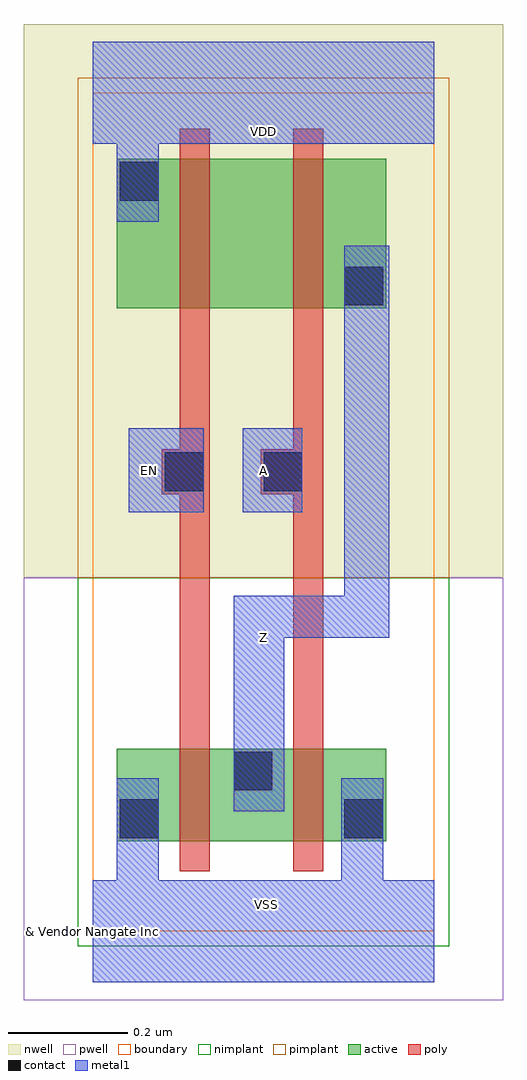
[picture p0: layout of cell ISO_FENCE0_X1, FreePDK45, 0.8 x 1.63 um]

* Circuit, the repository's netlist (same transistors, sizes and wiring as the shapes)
* 
* ******************************************************************************
* *                                                                            *
* *                   Copyright (C) 2004-2011, Nangate Inc.                    *
* *                           All rights reserved.                             *
* *                                                                            *
* * Nangate and the Nangate logo are trademarks of Nangate Inc.                *
* *                                                                            *
* * All trademarks, logos, software marks, and trade names (collectively the   *
* * "Marks") in this program are proprietary to Nangate or other respective    *
* * owners that have granted Nangate the right and license to use such Marks.  *
* * You are not permitted to use the Marks without the prior written consent   *
* * of Nangate or such third party that may own the Marks.                     *
* *                                                                            *
* * This file has been provided pursuant to a License Agreement containing     *
* * restrictions on its use. This file contains valuable trade secrets and     *
* * proprietary information of Nangate Inc., and is protected by U.S. and      *
* * international laws and/or treaties.                                        *
* *                                                                            *
* * The copyright notice(s) in this file does not indicate actual or intended  *
* * publication of this file.                                                  *
* *                                                                            *
* *     NGLibraryCreator, v2010.08-HR32-SP3-2010-08-05 - build 1009061800      *
* *                                                                            *
* ******************************************************************************
* 
* 
* Running on server08.nangate.com for user Giancarlo Franciscatto (gfr).
* Local time is now Thu, 6 Jan 2011, 19:45:45.
* Main process id is 3320.
*
********************************************************************************
*                                                                              *
* Cellname:   ISO_FENCE0_X1.                                                   *
*                                                                              *
* Technology: NCSU FreePDK 45nm.                                               *
* Format:     Cdl.                                                             *
*                                                                              *
* Written on server08.nangate.com for user Giancarlo Franciscatto (gfr)        *
* at 19:45:45 on Thu, 6 Jan 2011.                                              *
*                                                                              *
********************************************************************************
.SUBCKT ISO_FENCE0_X1 A EN Z VDD VSS 
*.PININFO A:I EN:I Z:O VDD:P VSS:G 
*.EQN Z=!(A + EN)
M_i_0 Z EN VSS VSS NMOS_VTL W=0.155000U L=0.050000U
M_i_7 VSS A Z VSS NMOS_VTL W=0.155000U L=0.050000U
M_i_13 net_000 EN VDD VDD PMOS_VTL W=0.250000U L=0.050000U
M_i_18 Z A net_000 VDD PMOS_VTL W=0.250000U L=0.050000U
.ENDS 

********************************************************************************
*
* END
*
********************************************************************************

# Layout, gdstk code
import gdstk
lib = gdstk.Library(unit=1e-6, precision=1e-10)
def R(c, l, rs):  # rectangles x0, y0, x1, y1
    for r in rs: c.add(gdstk.rectangle(r[:2], r[2:], *l))
def P(c, l, *ps):  # polygons
    for p in ps: c.add(gdstk.Polygon(p, *l))
active = (1, 0)
pwell = (2, 0)
nwell = (3, 0)
nimplant = (4, 0)
pimplant = (5, 0)
poly = (9, 0)
contact = (10, 0)
metal1 = (11, 0)
boundary = (235, 0)

iso_fence0_x1 = lib.new_cell('ISO_FENCE0_X1')
R(iso_fence0_x1, active, [(0.04,0.15,0.49,0.305), (0.04,1.04,0.49,1.29)])
R(iso_fence0_x1, pwell, [(-0.115,-0.115,0.685,0.59)])
R(iso_fence0_x1, nwell, [(-0.115,0.59,0.685,1.515)])
R(iso_fence0_x1, nimplant, [(-0.025,-0.025,0.595,0.59)])
R(iso_fence0_x1, pimplant, [(-0.025,0.59,0.595,1.425)])
P(iso_fence0_x1, poly, [(0.115,0.73),(0.145,0.73),(0.145,0.1),(0.195,0.1),(0.195,1.34),(0.145,1.34),(0.145,0.805),(0.115,0.805)],
  [(0.28,0.73),(0.335,0.73),(0.335,0.1),(0.385,0.1),(0.385,1.34),(0.335,1.34),(0.335,0.805),(0.28,0.805)])
R(iso_fence0_x1, contact, [(0.045,0.155,0.11,0.22), (0.42,0.155,0.485,0.22), (0.235,0.235,0.3,0.3), (0.12,0.735,0.185,0.8), (0.285,0.735,0.35,0.8), (0.42,1.045,0.485,1.11), (0.045,1.22,0.11,1.285)])
R(iso_fence0_x1, metal1, [(0.06,0.7,0.185,0.84), (0.25,0.7,0.35,0.84)])
P(iso_fence0_x1, metal1, [(0.235,0.2),(0.32,0.2),(0.32,0.49),(0.495,0.49),(0.495,1.145),(0.42,1.145),(0.42,0.56),(0.235,0.56)],
  [(0,-0.085),(0.57,-0.085),(0.57,0.085),(0.485,0.085),(0.485,0.255),(0.415,0.255),(0.415,0.085),(0.11,0.085),(0.11,0.255),(0.04,0.255),(0.04,0.085),(0,0.085)],
  [(0,1.315),(0.04,1.315),(0.04,1.185),(0.11,1.185),(0.11,1.315),(0.57,1.315),(0.57,1.485),(0,1.485)])
R(iso_fence0_x1, boundary, [(0,0,0.57,1.4)])
iso_fence0_x1.add(gdstk.Label('A', (0.285,0.77), layer=11, texttype=0))
iso_fence0_x1.add(gdstk.Label('EN', (0.095,0.77), layer=11, texttype=0))
iso_fence0_x1.add(gdstk.Label('VDD', (0.285,1.335), layer=11, texttype=0))
iso_fence0_x1.add(gdstk.Label('VSS', (0.29,0.045), layer=11, texttype=0))
iso_fence0_x1.add(gdstk.Label('Z', (0.285,0.49), layer=11, texttype=0))
iso_fence0_x1.add(gdstk.Label('& Vendor Nangate Inc', (0,0), layer=63, texttype=63))
iso_fence0_x1.add(gdstk.Label('& Product Open Cell Library', (0,0), layer=63, texttype=63))
iso_fence0_x1.add(gdstk.Label('& Version 2010_12', (0,0), layer=63, texttype=63))
iso_fence0_x1.add(gdstk.Label('& Instance ISO_FENCE0_X1', (0,0), layer=63, texttype=63))

lib.write_gds('ISO_FENCE0_X1.gds')
